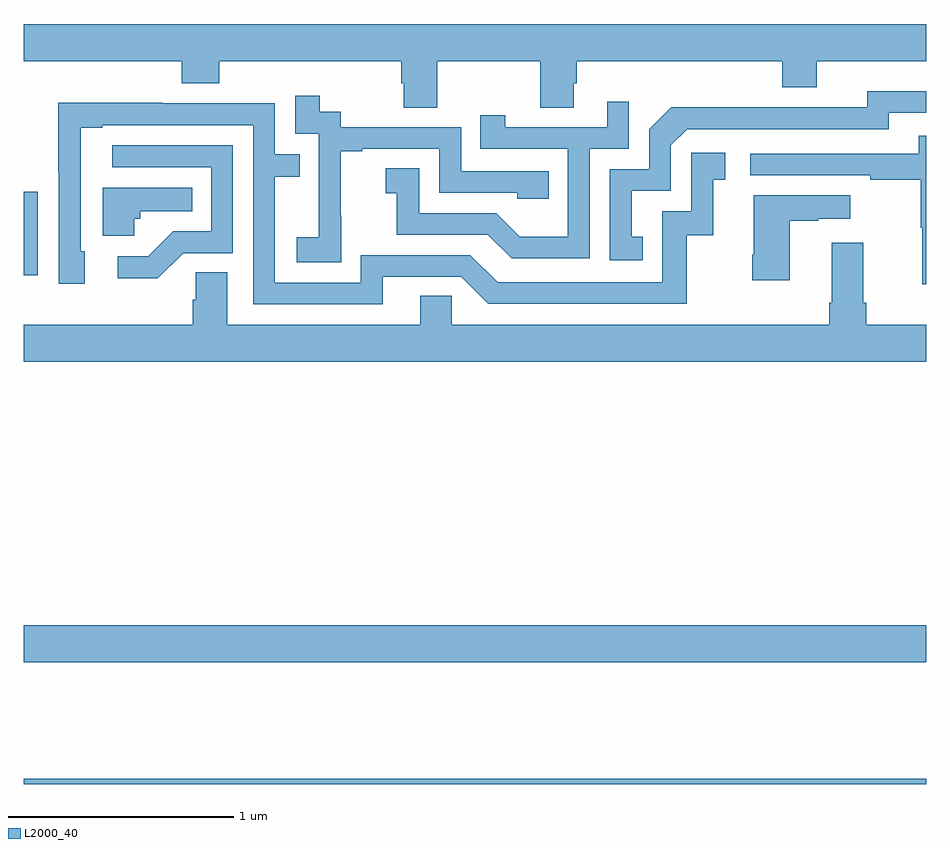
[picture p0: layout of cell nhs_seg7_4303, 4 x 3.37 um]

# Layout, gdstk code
import gdstk
lib = gdstk.Library(unit=1e-6, precision=1e-09)
def R(c, l, rs):  # rectangles x0, y0, x1, y1
    for r in rs: c.add(gdstk.rectangle(r[:2], r[2:], *l))
def P(c, l, *ps):  # polygons
    for p in ps: c.add(gdstk.Polygon(p, *l))
L2000_40 = (2000, 40)

nhs_seg7_4303 = lib.new_cell('nhs_seg7_4303')
R(nhs_seg7_4303, L2000_40, [(381,1076,385,1076.024), (381,1076.54,385,1076.704), (381,1078.254,381.063,1078.624)])
P(nhs_seg7_4303, L2000_40, [(382.833,1079.204),(383.29,1079.204),(383.29,1078.996),(383.437,1078.996),(383.437,1079.106),(383.45,1079.106),(383.45,1079.204),(384.362,1079.204),(384.362,1079.087),(384.514,1079.087),(384.514,1079.204),(385,1079.204),(385,1079.368),(381,1079.368),(381,1079.204),(381.701,1079.204),(381.701,1079.105),(381.866,1079.105),(381.866,1079.204),(382.673,1079.204),(382.673,1079.106),(382.685,1079.106),(382.685,1078.996),(382.833,1078.996)],
  [(383.744,1078.425),(383.695,1078.425),(383.695,1078.629),(383.868,1078.629),(383.868,1078.83),(383.94,1078.902),(384.834,1078.902),(384.834,1078.974),(385,1078.974),(385,1079.071),(384.738,1079.071),(384.738,1078.998),(384.278,1078.998),(384.278,1079),(383.87,1079),(383.772,1078.902),(383.772,1078.725),(383.598,1078.725),(383.598,1078.32),(383.744,1078.32)],
  [(382.407,1078.519),(382.406,1078.519),(382.406,1078.803),(382.501,1078.803),(382.501,1078.815),(382.842,1078.815),(382.842,1078.62),(383.187,1078.62),(383.187,1078.593),(383.327,1078.593),(383.327,1078.716),(382.938,1078.716),(382.938,1078.911),(382.404,1078.911),(382.404,1078.98),(382.312,1078.98),(382.312,1079.05),(382.203,1079.05),(382.203,1078.881),(382.308,1078.881),(382.308,1078.652),(382.307,1078.652),(382.307,1078.423),(382.209,1078.423),(382.209,1078.313),(382.407,1078.313)],
  [(383.508,1078.815),(383.682,1078.815),(383.682,1079.023),(383.585,1079.023),(383.585,1078.911),(383.134,1078.911),(383.134,1078.963),(383.023,1078.963),(383.023,1078.815),(383.412,1078.815),(383.412,1078.426),(383.198,1078.426),(383.094,1078.53),(382.752,1078.53),(382.752,1078.729),(382.605,1078.729),(382.605,1078.619),(382.654,1078.619),(382.654,1078.434),(383.057,1078.434),(383.162,1078.329),(383.508,1078.329)],
  [(382.591,1078.248),(382.938,1078.248),(383.058,1078.128),(383.938,1078.128),(383.938,1078.431),(384.056,1078.431),(384.056,1078.677),(384.109,1078.677),(384.109,1078.798),(383.958,1078.798),(383.958,1078.539),(383.829,1078.539),(383.829,1078.224),(383.1,1078.224),(382.98,1078.344),(382.494,1078.344),(382.494,1078.221),(382.113,1078.221),(382.113,1078.69),(382.223,1078.69),(382.223,1078.791),(382.113,1078.791),(382.113,1079.016),(381.617,1079.016),(381.617,1079.018),(381.154,1079.018),(381.154,1078.711),(381.156,1078.711),(381.156,1078.218),(381.271,1078.218),(381.271,1078.362),(381.252,1078.362),(381.252,1078.908),(381.349,1078.908),(381.349,1078.92),(382.017,1078.92),(382.017,1078.125),(382.591,1078.125)],
  [(385,1078.873),(384.967,1078.873),(384.967,1078.794),(384.219,1078.794),(384.219,1078.698),(384.751,1078.698),(384.751,1078.678),(384.975,1078.678),(384.975,1078.464),(384.982,1078.464),(384.982,1078.215),(385,1078.215)],
  [(381.708,1078.353),(381.927,1078.353),(381.927,1078.83),(381.393,1078.83),(381.393,1078.734),(381.831,1078.734),(381.831,1078.449),(381.662,1078.449),(381.551,1078.338),(381.417,1078.338),(381.417,1078.241),(381.595,1078.241)],
  [(381.489,1078.506),(381.516,1078.506),(381.516,1078.538),(381.746,1078.538),(381.746,1078.642),(381.35,1078.642),(381.35,1078.43),(381.489,1078.43)],
  [(384.394,1078.495),(384.521,1078.495),(384.521,1078.505),(384.664,1078.505),(384.664,1078.609),(384.236,1078.609),(384.236,1078.345),(384.229,1078.345),(384.229,1078.233),(384.394,1078.233)],
  [(385,1078.036),(384.734,1078.036),(384.734,1078.132),(384.721,1078.132),(384.721,1078.399),(384.581,1078.399),(384.581,1078.132),(384.569,1078.132),(384.569,1078.036),(382.896,1078.036),(382.896,1078.163),(382.757,1078.163),(382.757,1078.036),(381.901,1078.036),(381.901,1078.268),(381.762,1078.268),(381.762,1078.145),(381.749,1078.145),(381.749,1078.036),(381,1078.036),(381,1077.872),(385,1077.872)])

lib.write_gds('nhs_seg7_4303.gds')
